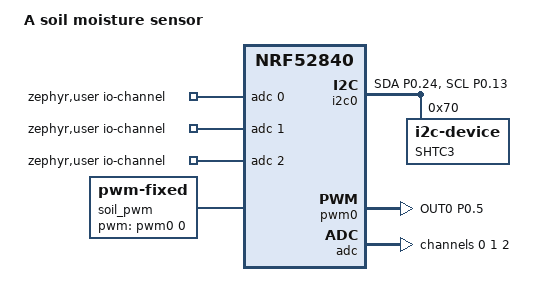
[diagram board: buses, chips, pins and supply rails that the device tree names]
/dts-v1/;
#include <nordic/nrf52840_qiaa.dtsi>

&pinctrl {
	/* Configure pwm0 instance to use pin 5. */
	pwm0_default: pwm0_default {
		group1 {
			psels = <NRF_PSEL(PWM_OUT0, 0, 5)>;
			nordic,invert;
		};
	};

	pwm0_sleep: pwm0_sleep {
		group1 {
			psels = <NRF_PSEL(PWM_OUT0, 0, 5)>;
			low-power-enable;
		};
	};

	/* Configure i2c0 instance to use pins 24 (SDA) & 13 (SCL). */
	i2c0_default: i2c0_default {
		group1 {
			psels = <NRF_PSEL(TWIM_SDA, 0, 24)>,
							<NRF_PSEL(TWIM_SCL, 0, 13)>;
		};
	};

	i2c0_sleep: i2c0_sleep {
		group1 {
			psels = <NRF_PSEL(TWIM_SDA, 0, 24)>,
							<NRF_PSEL(TWIM_SCL, 0, 13)>;
			low-power-enable;
		};
	};
};

&i2c0 {
	compatible = "nordic,nrf-twi";
	status = "okay";
	pinctrl-0 = <&i2c0_default>;
	pinctrl-1 = <&i2c0_sleep>;
	pinctrl-names = "default", "sleep";

	shtc3: shtc3@70 {
		compatible = "i2c-device";
		reg = <0x70>;
		label = "SHTC3";
	};
};

&pwm0 {
	status = "okay";
	pinctrl-0 = <&pwm0_default>;
	pinctrl-1 = <&pwm0_sleep>;
	pinctrl-names = "default", "sleep";
};

&adc {
	#address-cells = <1>;
	#size-cells = <0>;
	status = "ok";
	channel@0 {
		reg = <0>;
		zephyr,gain = "ADC_GAIN_1_6";
		zephyr,reference = "ADC_REF_INTERNAL";
		zephyr,acquisition-time = <ADC_ACQ_TIME_DEFAULT>;
		// P0.03.
		zephyr,input-positive = <NRF_SAADC_AIN1>;
		zephyr,resolution = <10>;

	};

	channel@1 {
		reg = <1>;
		zephyr,gain = "ADC_GAIN_1_6";
		zephyr,reference = "ADC_REF_INTERNAL";
		zephyr,acquisition-time = <ADC_ACQ_TIME_DEFAULT>;
		// P0.02.
		zephyr,input-positive = <NRF_SAADC_AIN0>;
		zephyr,resolution = <10>;
	};

	channel@2 {
		reg = <2>;
		zephyr,gain = "ADC_GAIN_1_6";
		zephyr,reference = "ADC_REF_INTERNAL";
		zephyr,acquisition-time = <ADC_ACQ_TIME_DEFAULT>;
		zephyr,input-positive = <NRF_SAADC_VDD>;
		zephyr,resolution = <10>;
	};
};


&flash0 {

	partitions {
		compatible = "fixed-partitions";
		#address-cells = <1>;
		#size-cells = <1>;

		boot_partition: partition@0 {
			label = "mcuboot";
			reg = <0x00000000 0x0000C000>;
		};
		slot0_partition: partition@c000 {
			label = "image-0";
			reg = <0x0000C000 0x00067000>;
		};
		slot1_partition: partition@73000 {
			label = "image-1";
			reg = <0x00073000 0x00067000>;
		};
		scratch_partition: partition@da000 {
			label = "image-scratch";
			reg = <0x000da000 0x0001e000>;
		};

		/*
		 * The flash starting at 0x000f8000 and ending at
		 * 0x000fffff is reserved for use by the application.
		 */

		/*
		 * Storage partition will be used by FCB/LittleFS/NVS
		 * if enabled.
		 */
		storage_partition: partition@f8000 {
			label = "storage";
			reg = <0x000f8000 0x00008000>;
		};
	};
};

/ {

	model = "A soil moisture sensor";
	compatible = "rbaron,b-parasite";

	zephyr,user {
		io-channels = <&adc 0>, <&adc 1>, <&adc 2>;
		zephyr,sram = &sram0;
		zephyr,flash = &flash0;
		zephyr,code-partition = &slot0_partition;
	};

	soil_pwm: soil_pwm {
		compatible = "pwm-fixed";
		pwms = <&pwm0 0 PWM_MSEC(100) PWM_POLARITY_INVERTED>;
		pulse = <PWM_MSEC(50)>;
	};
};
